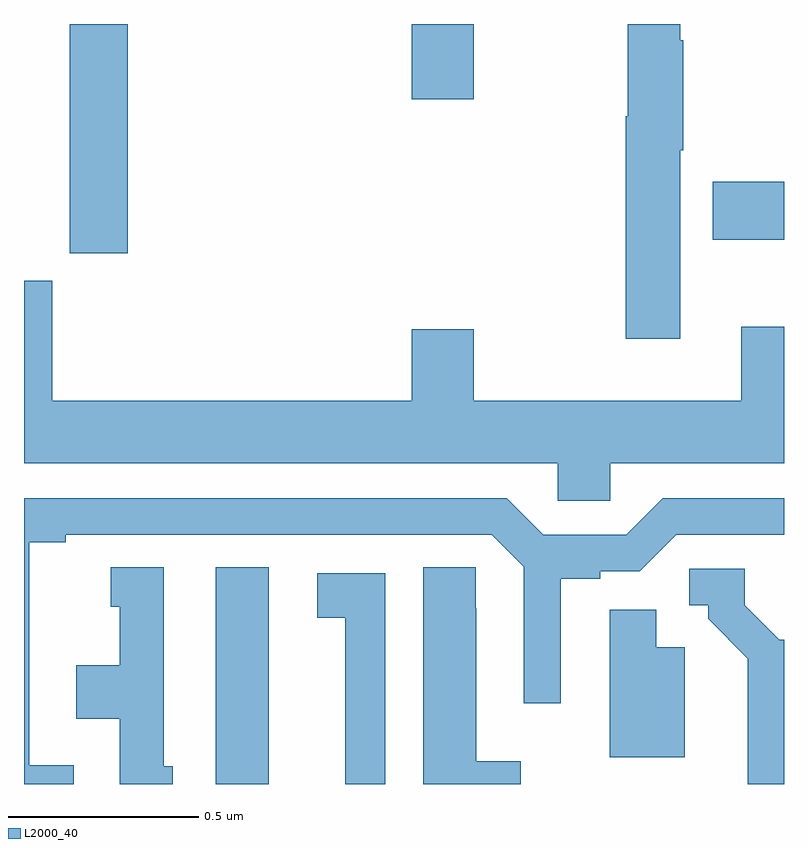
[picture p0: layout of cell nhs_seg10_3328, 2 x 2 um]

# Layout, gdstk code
import gdstk
lib = gdstk.Library(unit=1e-6, precision=1e-09)
def R(c, l, rs):  # rectangles x0, y0, x1, y1
    for r in rs: c.add(gdstk.rectangle(r[:2], r[2:], *l))
def P(c, l, *ps):  # polygons
    for p in ps: c.add(gdstk.Polygon(p, *l))
L2000_40 = (2000, 40)

nhs_seg10_3328 = lib.new_cell('nhs_seg10_3328')
R(nhs_seg10_3328, L2000_40, [(152.504,1271.5,152.644,1272.07), (152.12,1272.897,152.273,1273.5), (153.812,1272.932,154,1273.085), (153.02,1273.302,153.184,1273.5)])
P(nhs_seg10_3328, L2000_40, [(153.727,1273.168),(153.735,1273.168),(153.735,1273.457),(153.727,1273.457),(153.727,1273.5),(153.589,1273.5),(153.589,1273.257),(153.584,1273.257),(153.584,1272.672),(153.727,1272.672)],
  [(153.543,1272.344),(154,1272.344),(154,1272.703),(153.887,1272.703),(153.887,1272.508),(153.184,1272.508),(153.184,1272.697),(153.02,1272.697),(153.02,1272.508),(152.074,1272.508),(152.074,1272.825),(152,1272.825),(152,1272.344),(153.405,1272.344),(153.405,1272.246),(153.543,1272.246)],
  [(152.131,1271.55),(152.014,1271.55),(152.014,1272.136),(152.11,1272.136),(152.11,1272.156),(153.231,1272.156),(153.315,1272.072),(153.315,1271.712),(153.412,1271.712),(153.412,1272.04),(153.516,1272.04),(153.516,1272.06),(153.621,1272.06),(153.717,1272.156),(154,1272.156),(154,1272.252),(153.681,1272.252),(153.585,1272.156),(153.367,1272.156),(153.271,1272.252),(152,1272.252),(152,1271.5),(152.131,1271.5)],
  [(153.307,1271.56),(153.19,1271.56),(153.19,1271.963),(153.189,1271.963),(153.189,1272.071),(153.05,1272.071),(153.05,1271.5),(153.307,1271.5)],
  [(152.392,1271.547),(152.368,1271.547),(152.368,1272.07),(152.228,1272.07),(152.228,1271.967),(152.252,1271.967),(152.252,1271.812),(152.138,1271.812),(152.138,1271.672),(152.252,1271.672),(152.252,1271.5),(152.392,1271.5)],
  [(154,1271.88),(153.987,1271.88),(153.897,1271.97),(153.897,1272.066),(153.75,1272.066),(153.75,1271.97),(153.8,1271.97),(153.8,1271.935),(153.905,1271.83),(153.905,1271.5),(154,1271.5)],
  [(152.95,1272.054),(152.772,1272.054),(152.772,1271.938),(152.846,1271.938),(152.846,1271.5),(152.95,1271.5)],
  [(153.739,1271.86),(153.664,1271.86),(153.664,1271.959),(153.542,1271.959),(153.542,1271.57),(153.739,1271.57)])

lib.write_gds('nhs_seg10_3328.gds')
